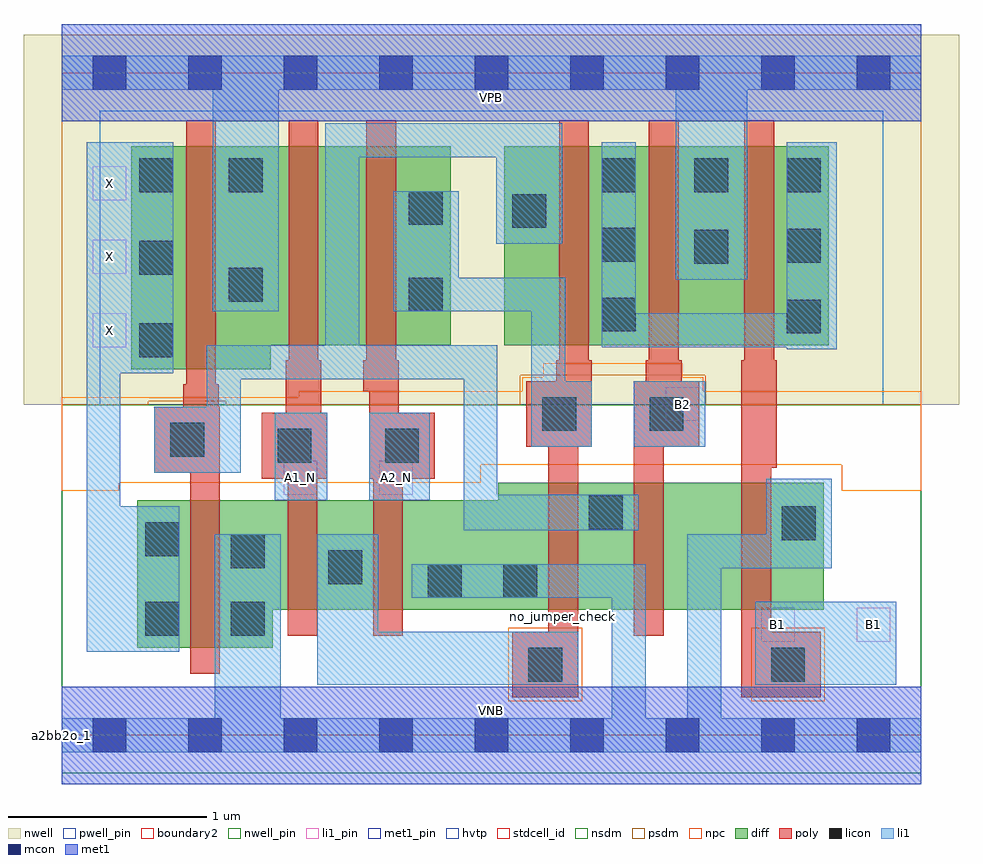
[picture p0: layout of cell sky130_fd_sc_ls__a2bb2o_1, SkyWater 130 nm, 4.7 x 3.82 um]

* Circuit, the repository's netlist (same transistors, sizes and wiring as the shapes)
* Copyright 2020 The SkyWater PDK Authors
*
* Licensed under the Apache License, Version 2.0 (the "License");
* you may not use this file except in compliance with the License.
* You may obtain a copy of the License at
*
*     https://www.apache.org/licenses/LICENSE-2.0
*
* Unless required by applicable law or agreed to in writing, software
* distributed under the License is distributed on an "AS IS" BASIS,
* WITHOUT WARRANTIES OR CONDITIONS OF ANY KIND, either express or implied.
* See the License for the specific language governing permissions and
* limitations under the License.
*
* SPDX-License-Identifier: Apache-2.0

.SUBCKT sky130_fd_sc_ls__a2bb2o_1 A1_N A2_N B1 B2 VGND VNB VPB VPWR X
*.PININFO A1_N:I A2_N:I B1:I B2:I VGND:I VNB:I VPB:I VPWR:I X:O
MMIN2 X y VGND VNB sky130_fd_pr__nfet_01v8 m=1 w=0.74U l=0.15U mult=1 sa=0.265
+ sb=0.265 sd=0.28 area=0.063 perim=1.14
MMNnor0 inor A1_N VGND VNB sky130_fd_pr__nfet_01v8 m=1 w=0.55U l=0.15U mult=1 sa=0.265
+ sb=0.265 sd=0.28 area=0.063 perim=1.14
MMNnor1 inor A2_N VGND VNB sky130_fd_pr__nfet_01v8 m=1 w=0.55U l=0.15U mult=1 sa=0.265
+ sb=0.265 sd=0.28 area=0.063 perim=1.14
MMNaoi10 VGND B1 sndNB1 VNB sky130_fd_pr__nfet_01v8 m=1 w=0.64U l=0.15U mult=1
+ sa=0.265 sb=0.265 sd=0.28 area=0.063 perim=1.14
MMNaoi11 sndNB1 B2 y VNB sky130_fd_pr__nfet_01v8 m=1 w=0.64U l=0.15U mult=1 sa=0.265
+ sb=0.265 sd=0.28 area=0.063 perim=1.14
MMNaoi20 y inor VGND VNB sky130_fd_pr__nfet_01v8 m=1 w=0.64U l=0.15U mult=1 sa=0.265
+ sb=0.265 sd=0.28 area=0.063 perim=1.14
MMPaoi20 y inor pmid VPB sky130_fd_pr__pfet_01v8_hvt m=1 w=1.0U l=0.15U mult=1
+ sa=0.265 sb=0.265 sd=0.28 area=0.063 perim=1.14
MMIP2 X y VPWR VPB sky130_fd_pr__pfet_01v8_hvt m=1 w=1.12U l=0.15U mult=1 sa=0.265
+ sb=0.265 sd=0.28 area=0.063 perim=1.14
MMPnor0 VPWR A1_N sndPA1N VPB sky130_fd_pr__pfet_01v8_hvt m=1 w=1.0U l=0.15U mult=1
+ sa=0.265 sb=0.265 sd=0.28 area=0.063 perim=1.14
MMPnor1 sndPA1N A2_N inor VPB sky130_fd_pr__pfet_01v8_hvt m=1 w=1.0U l=0.15U mult=1
+ sa=0.265 sb=0.265 sd=0.28 area=0.063 perim=1.14
MMPaoi10 pmid B1 VPWR VPB sky130_fd_pr__pfet_01v8_hvt m=1 w=1.0U l=0.15U mult=1
+ sa=0.265 sb=0.265 sd=0.28 area=0.063 perim=1.14
MMPaoi11 pmid B2 VPWR VPB sky130_fd_pr__pfet_01v8_hvt m=1 w=1.0U l=0.15U mult=1
+ sa=0.265 sb=0.265 sd=0.28 area=0.063 perim=1.14
.ENDS sky130_fd_sc_ls__a2bb2o_1

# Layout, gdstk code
import gdstk
lib = gdstk.Library(unit=1e-6, precision=1e-09)
def R(c, l, rs):  # rectangles x0, y0, x1, y1
    for r in rs: c.add(gdstk.rectangle(r[:2], r[2:], *l))
def A(c, l, x, y, w, h, nx, ny, dx, dy):  # array of equal rectangles
    R(c, l, [(x+i*dx, y+j*dy, x+i*dx+w, y+j*dy+h) for i in range(nx) for j in range(ny)])
def P(c, l, *ps):  # polygons
    for p in ps: c.add(gdstk.Polygon(p, *l))
nwell_pin = (64, 16)
nwell = (64, 20)
diff = (65, 20)
poly = (66, 20)
licon = (66, 44)
li1_pin = (67, 16)
li1 = (67, 20)
mcon = (67, 44)
met1_pin = (68, 16)
met1 = (68, 20)
hvtp = (78, 44)
stdcell_id = (81, 4)
nsdm = (93, 44)
psdm = (94, 20)
npc = (95, 20)
pwell_pin = (122, 16)
boundary2 = (236, 0)

sky130_fd_sc_ls__a2bb2o_ = lib.new_cell('sky130_fd_sc_ls__a2bb2o_1')
R(sky130_fd_sc_ls__a2bb2o_, nwell_pin, [(0,3.085,4.32,3.33)])
R(sky130_fd_sc_ls__a2bb2o_, nwell, [(-0.19,1.66,4.51,3.52)])
R(sky130_fd_sc_ls__a2bb2o_, diff, [(2.225,1.96,3.855,2.96)])
P(sky130_fd_sc_ls__a2bb2o_, diff, [(1.955,2.96),(0.35,2.96),(0.35,1.84),(1.05,1.84),(1.05,1.96),(1.955,1.96)],
  [(3.83,1.27),(2.195,1.27),(2.195,1.18),(0.38,1.18),(0.38,0.44),(1.06,0.44),(1.06,0.63),(3.83,0.63)])
P(sky130_fd_sc_ls__a2bb2o_, poly, [(3.815,0.52),(3.565,0.52),(3.565,1.345),(3.595,1.345),(3.595,1.885),(3.58,1.885),(3.58,3.09),(3.43,3.09),(3.43,1.885),(3.415,1.885),(3.415,0.19),(3.815,0.19)],
  [(3.205,1.78),(3.115,1.78),(3.115,1.885),(3.1,1.885),(3.1,3.09),(2.95,3.09),(2.95,1.885),(2.935,1.885),(2.935,1.78),(2.875,1.78),(2.875,0.5),(3.025,0.5),(3.025,1.45),(3.205,1.45)],
  [(2.665,1.885),(2.65,1.885),(2.65,3.09),(2.5,3.09),(2.5,1.885),(2.485,1.885),(2.485,1.78),(2.335,1.78),(2.335,1.45),(2.445,1.45),(2.445,0.52),(2.265,0.52),(2.265,0.19),(2.595,0.19),(2.595,1.45),(2.665,1.45)],
  [(1.875,1.62),(1.695,1.62),(1.695,1.885),(1.68,1.885),(1.68,3.09),(1.53,3.09),(1.53,1.885),(1.515,1.885),(1.515,1.73),(1.545,1.73),(1.545,1.29),(1.565,1.29),(1.565,0.5),(1.715,0.5),(1.715,1.29),(1.875,1.29)],
  [(1.335,1.62),(1.305,1.62),(1.305,1.885),(1.29,1.885),(1.29,3.09),(1.14,3.09),(1.14,1.885),(1.125,1.885),(1.125,1.62),(1.005,1.62),(1.005,1.29),(1.135,1.29),(1.135,0.5),(1.285,0.5),(1.285,1.29),(1.335,1.29)],
  [(0.795,1.65),(0.79,1.65),(0.79,1.765),(0.775,1.765),(0.775,3.09),(0.625,3.09),(0.625,1.765),(0.61,1.765),(0.61,1.65),(0.465,1.65),(0.465,1.32),(0.645,1.32),(0.645,0.31),(0.795,0.31)])
A(sky130_fd_sc_ls__a2bb2o_, licon, 0.39, 1.9, 0.17, 0.17, 1, 3, 0, 0.415)
A(sky130_fd_sc_ls__a2bb2o_, licon, 2.715, 2.73, 0.17, 0.17, 3, 1, 0.465, 0)
R(sky130_fd_sc_ls__a2bb2o_, licon, [(2.345,0.27,2.515,0.44), (3.565,0.27,3.735,0.44), (0.42,0.5,0.59,0.67), (0.85,0.5,1.02,0.67), (1.84,0.69,2.01,0.86), (2.22,0.69,2.39,0.86), (1.34,0.76,1.51,0.93), (0.85,0.84,1.02,1.01), (0.42,0.9,0.59,1.07), (3.62,0.98,3.79,1.15), (2.65,1.035,2.82,1.205), (1.085,1.37,1.255,1.54), (1.625,1.37,1.795,1.54), (0.545,1.4,0.715,1.57), (2.415,1.53,2.585,1.7), (2.955,1.53,3.125,1.7), (3.645,2.02,3.815,2.19), (2.715,2.03,2.885,2.2), (1.745,2.13,1.915,2.3), (0.84,2.18,1.01,2.35), (3.18,2.37,3.35,2.54), (3.645,2.375,3.815,2.545), (2.715,2.38,2.885,2.55), (2.265,2.55,2.435,2.72), (1.745,2.565,1.915,2.735), (0.84,2.73,1.01,2.9)])
A(sky130_fd_sc_ls__a2bb2o_, li1_pin, 0.155, 1.95, 0.17, 0.17, 1, 3, 0, 0.37)
R(sky130_fd_sc_ls__a2bb2o_, li1_pin, [(3.515,0.47,3.685,0.64), (3.995,0.47,4.165,0.64), (1.115,1.21,1.285,1.38), (1.595,1.21,1.765,1.38), (3.035,1.58,3.205,1.75)])
R(sky130_fd_sc_ls__a2bb2o_, li1, [(3.485,0.255,4.195,0.67), (1.07,1.18,1.335,1.62), (1.545,1.18,1.85,1.62), (2.875,1.45,3.235,1.78)])
P(sky130_fd_sc_ls__a2bb2o_, li1, [(3.085,2.29),(3.085,3.245),(1.09,3.245),(1.09,2.13),(0.76,2.13),(0.76,3.245),(0,3.245),(0,3.415),(4.32,3.415),(4.32,3.245),(3.445,3.245),(3.445,2.29)],
  [(2.765,0.085),(2.765,0.69),(1.76,0.69),(1.76,0.86),(2.935,0.86),(2.935,0.085),(3.145,0.085),(3.145,1.01),(3.54,1.01),(3.54,1.29),(3.87,1.29),(3.87,0.84),(3.315,0.84),(3.315,0.085),(4.32,0.085),(4.32,-0.085),(0,-0.085),(0,0.085),(0.77,0.085),(0.77,1.01),(1.1,1.01),(1.1,0.085)],
  [(1.995,2.3),(2.53,2.3),(2.53,1.78),(2.665,1.78),(2.665,1.45),(2.36,1.45),(2.36,2.13),(1.665,2.13),(1.665,2.735),(1.995,2.735)],
  [(2.515,3.075),(2.515,2.47),(2.185,2.47),(2.185,2.905),(1.495,2.905),(1.495,1.96),(2.19,1.96),(2.19,1.21),(2.9,1.21),(2.9,1.03),(2.02,1.03),(2.02,1.79),(0.9,1.79),(0.9,1.32),(0.465,1.32),(0.465,1.65),(0.73,1.65),(0.73,1.96),(1.325,1.96),(1.325,3.075)],
  [(0.125,2.98),(0.56,2.98),(0.56,1.82),(0.295,1.82),(0.295,1.15),(0.59,1.15),(0.59,0.42),(0.125,0.42)],
  [(1.285,1.01),(1.59,1.01),(1.59,0.52),(2.595,0.52),(2.595,0.255),(1.285,0.255)],
  [(3.645,1.94),(3.645,1.95),(2.715,1.95),(2.715,2.98),(2.885,2.98),(2.885,2.12),(3.645,2.12),(3.645,2.98),(3.895,2.98),(3.895,1.94)])
A(sky130_fd_sc_ls__a2bb2o_, mcon, 0.155, -0.085, 0.17, 0.17, 9, 2, 0.48, 3.33)
R(sky130_fd_sc_ls__a2bb2o_, met1_pin, [(0,0,4.32,0.245), (0,3.085,4.32,3.33)])
R(sky130_fd_sc_ls__a2bb2o_, met1, [(0,-0.245,4.32,0.245), (0,3.085,4.32,3.575)])
R(sky130_fd_sc_ls__a2bb2o_, hvtp, [(0.19,1.66,4.13,3.14)])
R(sky130_fd_sc_ls__a2bb2o_, stdcell_id, [(0,0,4.32,3.33)])
R(sky130_fd_sc_ls__a2bb2o_, nsdm, [(0,-0.19,4.32,1.66)])
P(sky130_fd_sc_ls__a2bb2o_, psdm, [(4.32,3.52),(0,3.52),(0,1.66),(0.435,1.66),(0.435,1.68),(0.825,1.68),(0.825,1.66),(2.305,1.66),(2.305,1.81),(3.235,1.81),(3.235,1.66),(4.32,1.66)])
R(sky130_fd_sc_ls__a2bb2o_, npc, [(2.245,0.17,2.615,0.54), (3.465,0.17,3.835,0.54)])
P(sky130_fd_sc_ls__a2bb2o_, npc, [(4.32,1.73),(3.225,1.73),(3.225,1.8),(3.12,1.8),(3.12,1.87),(2.42,1.87),(2.42,1.8),(2.315,1.8),(2.315,1.73),(1.19,1.73),(1.19,1.7),(0,1.7),(0,1.23),(0.29,1.23),(0.29,1.27),(2.105,1.27),(2.105,1.36),(3.92,1.36),(3.92,1.23),(4.32,1.23)])
R(sky130_fd_sc_ls__a2bb2o_, pwell_pin, [(0,0,4.32,0.245)])
R(sky130_fd_sc_ls__a2bb2o_, boundary2, [(0,0,4.32,3.33)])
sky130_fd_sc_ls__a2bb2o_.add(gdstk.Label('a2bb2o_1', (0,0), layer=83, texttype=44))
sky130_fd_sc_ls__a2bb2o_.add(gdstk.Label('no_jumper_check', (2.515,0.595), layer=83, texttype=44))
sky130_fd_sc_ls__a2bb2o_.add(gdstk.Label('VNB', (2.16,0.123), layer=64, texttype=59))
sky130_fd_sc_ls__a2bb2o_.add(gdstk.Label('VPB', (2.16,3.208), layer=64, texttype=5))
sky130_fd_sc_ls__a2bb2o_.add(gdstk.Label('VPWR', (2.16,3.208), layer=68, texttype=5))
sky130_fd_sc_ls__a2bb2o_.add(gdstk.Label('VGND', (2.16,0.123), layer=68, texttype=5))
sky130_fd_sc_ls__a2bb2o_.add(gdstk.Label('B2', (3.12,1.665), layer=67, texttype=5))
sky130_fd_sc_ls__a2bb2o_.add(gdstk.Label('A1_N', (1.2,1.295), layer=67, texttype=5))
sky130_fd_sc_ls__a2bb2o_.add(gdstk.Label('X', (0.24,2.035), layer=67, texttype=5))
sky130_fd_sc_ls__a2bb2o_.add(gdstk.Label('X', (0.24,2.405), layer=67, texttype=5))
sky130_fd_sc_ls__a2bb2o_.add(gdstk.Label('X', (0.24,2.775), layer=67, texttype=5))
sky130_fd_sc_ls__a2bb2o_.add(gdstk.Label('B1', (3.6,0.555), layer=67, texttype=5))
sky130_fd_sc_ls__a2bb2o_.add(gdstk.Label('B1', (4.08,0.555), layer=67, texttype=5))
sky130_fd_sc_ls__a2bb2o_.add(gdstk.Label('A2_N', (1.68,1.295), layer=67, texttype=5))

lib.write_gds('sky130_fd_sc_ls__a2bb2o_1.gds')
